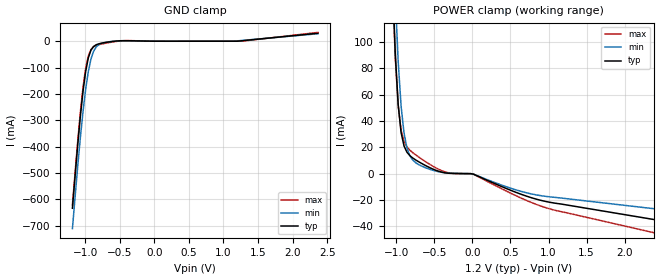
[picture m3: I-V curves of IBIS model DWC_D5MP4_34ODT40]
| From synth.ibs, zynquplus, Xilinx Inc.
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[Model] DWC_D5MP4_34ODT40
Model_type   Input
Polarity   Non-Inverting
Enable   Active-High
C_comp   1.608pF   1.575pF   1.660pF
C_comp_power_clamp   329.187fF   315.665fF   356.717fF
C_comp_gnd_clamp 1.278pF   1.259pF   1.303pF
Vinh = 936.000mV
Vinl = 816.000mV
[Model Spec]
D_overshoot_ampl_h 0.24 NA   NA
D_overshoot_ampl_l 0.24 NA   NA
D_overshoot_area_l 300.000m NA   NA
D_overshoot_area_h 300.000m NA   NA
[Temperature Range]   25.000   100.000   0.00
[Voltage Range]   1.200V   1.140V   1.260V
[GND Clamp Reference]   0.00V   0.00V   0.00V
[POWER Clamp Reference]   1.200V   1.140V   1.260V
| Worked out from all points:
|   GND clamp passes 1 mA (typ) near -0.20 V on its own axis
|   POWER clamp passes 1 mA (typ) near -0.39 V on its own axis
[GND Clamp]
-1.184V   -634.5mA   -712mA     -622mA
-1.107V   -392.9mA   -474.1mA   -377.9mA
-1.069V   -284.9mA   -365.7mA   -269.1mA
-1.031V   -190.5mA   -267.4mA   -175.2mA
-992.7mV  -115.1mA   -183mA     -102.6mA
-954.6mV  -63.31mA   -115.7mA   -55.8mA
-916.4mV  -34mA      -67.87mA   -31.77mA
-878.2mV  -19.9mA    -38.07mA   -21.08mA
-801.8mV  -9.774mA   -12.75mA   -13mA
-420mV    2.073mA    1.344mA    2.298mA
1.26V     1.621mA    2.819mA    84.2uA
2.367V    30.38mA    28.5mA     33.6mA
[Power Clamp]
-1.167V   421mA      468.9mA    416.9mA
-1.053V   150.6mA    200.5mA    145.5mA
-1.015V   91.09mA    134.7mA    87.95mA
-976.4mV  52.21mA    84.95mA    51.83mA
-938.2mV  31.13mA    51.24mA    33.1mA
-900mV    21.11mA    30.92mA    24.5mA
-861.8mV  16.34mA    19.7mA     20.37mA
-747.3mV  10.47mA    8.37mA     14.34mA
-403.6mV  1.154mA    1.03mA     2.278mA
16.36mV   -429.8uA   -433.8uA   -497uA
932.7mV   -20.72mA   -16.99mA   -25.25mA
2.384V    -34.81mA   -26.61mA   -44.83mA
